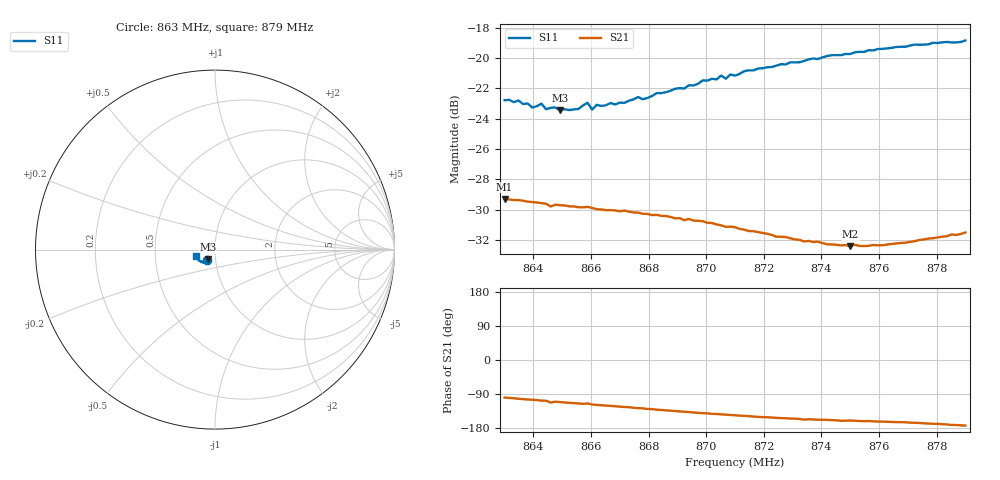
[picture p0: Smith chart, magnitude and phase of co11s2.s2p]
# HZ S RI R 50
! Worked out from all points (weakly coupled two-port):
!   101 points, 863 MHz to 879 MHz, reference 50 ohm
!   highest |S21| = -29.30 dB at 863 MHz (marker M1); lowest = -32.4 dB at 875 MHz (marker M2)
!   lowest |S11| = -23.5 dB at 864.92 MHz (marker M3), VSWR 1.14, Z = 46 - j5.07 ohm
!   |S11| at or under -10 dB: start of sweep to end of sweep
!   S12 and S22 are empty: the file has one direction only
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8.63e8  -0.046 -0.0561  -0.00546 -0.0338  0 0  0 0
8.6348e8  -0.0446 -0.0571  -0.00726 -0.0332  0 0  0 0
8.6396e8  -0.042 -0.0543  -0.00859 -0.0324  0 0  0 0
8.6428e8  -0.0418 -0.0571  -0.00988 -0.0317  0 0  0 0
8.6444e8  -0.0403 -0.0545  -0.00993 -0.0316  0 0  0 0
8.6476e8  -0.0398 -0.056  -0.0113 -0.0309  0 0  0 0
8.6492e8  -0.0388 -0.0548  -0.0116 -0.0306  0 0  0 0
8.6556e8  -0.0385 -0.0559  -0.0135 -0.0293  0 0  0 0
8.6572e8  -0.0372 -0.059  -0.014 -0.029  0 0  0 0
8.6588e8  -0.0399 -0.0589  -0.0135 -0.0293  0 0  0 0
8.6604e8  -0.0355 -0.0575  -0.0147 -0.0285  0 0  0 0
8.662e8  -0.0377 -0.0591  -0.0152 -0.0278  0 0  0 0
8.6716e8  -0.0362 -0.0612  -0.0176 -0.026  0 0  0 0
8.6844e8  -0.0385 -0.0662  -0.0201 -0.0225  0 0  0 0
8.7052e8  -0.0489 -0.0726  -0.0226 -0.0167  0 0  0 0
8.7068e8  -0.0473 -0.0712  -0.0225 -0.0163  0 0  0 0
8.7084e8  -0.0519 -0.0714  -0.0228 -0.0159  0 0  0 0
8.71e8  -0.0502 -0.0716  -0.0229 -0.0155  0 0  0 0
8.7372e8  -0.07 -0.0709  -0.0228 -0.00974  0 0  0 0
8.75e8  -0.0796 -0.0655  -0.0225 -0.00831  0 0  0 0
8.7644e8  -0.0909 -0.0584  -0.0234 -0.00695  0 0  0 0
8.79e8  -0.108 -0.0374  -0.0264 -0.00323  0 0  0 0
